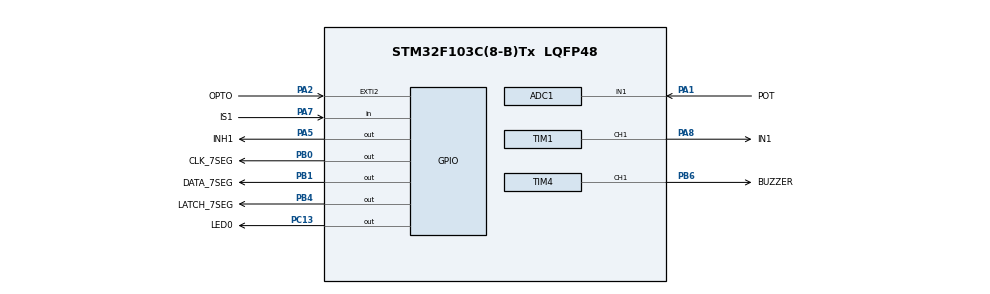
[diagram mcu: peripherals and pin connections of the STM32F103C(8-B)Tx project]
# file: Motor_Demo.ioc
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ADC1.Channel-59\#ChannelRegularConversion=ADC_CHANNEL_1
ADC1.NbrOfConversionFlag=1
ADC1.Rank-59\#ChannelRegularConversion=1
ADC1.SamplingTime-59\#ChannelRegularConversion=ADC_SAMPLETIME_1CYCLE_5
ADC1.master=1
Mcu.Family=STM32F1
Mcu.Name=STM32F103C(8-B)Tx
Mcu.Package=LQFP48
Mcu.UserConstants=SLOW_ALARM,62500;MED_ALARM,31250;FAST_ALARM,15625;LOW_PITCH,1000;MED_PITCH,500;HIGH_PITCH,333
NVIC.EXTI2_IRQn=true\:1\:0\:true\:false\:true\:true
NVIC.PriorityGroup=NVIC_PRIORITYGROUP_4
PA1.GPIO_Label=POT
PA1.Signal=ADCx_IN1
PA13.Mode=Serial_Wire
PA13.Signal=SYS_JTMS-SWDIO
PA14.Mode=Serial_Wire
PA14.Signal=SYS_JTCK-SWCLK
PA2.GPIO_Label=OPTO
PA2.Signal=GPXTI2
PA5.GPIO_Label=INH1
PA5.Signal=GPIO_Output
PA7.GPIO_Label=IS1
PA7.Signal=GPIO_Input
PA8.GPIO_Label=IN1
PA8.Signal=S_TIM1_CH1
PB0.GPIO_Label=CLK_7SEG
PB0.Signal=GPIO_Output
PB1.GPIO_Label=DATA_7SEG
PB1.Signal=GPIO_Output
PB4.GPIO_Label=LATCH_7SEG
PB4.Signal=GPIO_Output
PB6.GPIO_Label=BUZZER
PB6.Signal=S_TIM4_CH1
PC13-TAMPER-RTC.GPIO_Label=LED0
PC13-TAMPER-RTC.Signal=GPIO_Output
PC14-OSC32_IN.Mode=LSE-External-Oscillator
PC14-OSC32_IN.Signal=RCC_OSC32_IN
PC15-OSC32_OUT.Mode=LSE-External-Oscillator
PC15-OSC32_OUT.Signal=RCC_OSC32_OUT
PD0-OSC_IN.Mode=HSE-External-Oscillator
PD0-OSC_IN.Signal=RCC_OSC_IN
PD1-OSC_OUT.Mode=HSE-External-Oscillator
PD1-OSC_OUT.Signal=RCC_OSC_OUT
ProjectManager.HeapSize=0x200
ProjectManager.StackSize=0x400
ProjectManager.TargetToolchain=SW4STM32
RCC.ADCPresc=RCC_ADCPCLK2_DIV8
RCC.AHBCLKDivider=RCC_SYSCLK_DIV4
RCC.AHBFreq_Value=8000000
RCC.APB1CLKDivider=RCC_HCLK_DIV16
RCC.APB1Freq_Value=500000
RCC.APB1TimFreq_Value=1000000
RCC.APB2Freq_Value=8000000
RCC.APB2TimFreq_Value=8000000
RCC.HCLKFreq_Value=8000000
RCC.LSE_VALUE=0.00000000000000000000000000000000000000000000000000000000000003276799999999999
RCC.PLLMUL=RCC_PLL_MUL8
RCC.SYSCLKFreq_VALUE=32000000
RCC.SYSCLKSource=RCC_SYSCLKSOURCE_PLLCLK
RCC.TimSys_Div=SYSTICK_CLKSOURCE_HCLK_DIV8
RCC.USBFreq_Value=32000000
SH.ADCx_IN1.0=ADC1_IN1,IN1
SH.S_TIM1_CH1.0=TIM1_CH1,PWM Generation1 CH1
SH.S_TIM4_CH1.0=TIM4_CH1,PWM Generation1 CH1
TIM1.Channel-PWM\ Generation1\ CH1=TIM_CHANNEL_1
TIM1.Period=800
TIM1.Pulse-PWM\ Generation1\ CH1=400
TIM3.Channel-Output\ Compare1\ No\ Output=TIM_CHANNEL_1
TIM3.ClockDivision=TIM_CLOCKDIVISION_DIV4
TIM3.OCMode_1=TIM_OCMODE_TOGGLE
TIM3.Period=62500
TIM3.Prescaler=4
TIM3.Pulse-Output\ Compare1\ No\ Output=31250
TIM4.Channel-PWM\ Generation1\ CH1=TIM_CHANNEL_1
TIM4.Period=1000
TIM4.Pulse-PWM\ Generation1\ CH1=500
VP_TIM1_VS_ClockSourceINT.Mode=Internal
VP_TIM3_VS_ClockSourceINT.Mode=Internal
VP_TIM3_VS_no_output1.Mode=Output Compare1 No Output
VP_TIM4_VS_ClockSourceINT.Mode=Internal
VP_TIM4_VS_ClockSourceITR.Mode=TriggerSource_ITR2
VP_TIM4_VS_ControllerModeGated.Mode=Gated Mode
board=Motor_Demo

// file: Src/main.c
/**
  ******************************************************************************
  * @file           : main.c
  * @brief          : Main program body
  ******************************************************************************
  ** This notice applies to any and all portions of this file
  * that are not between comment pairs USER CODE BEGIN and
  * USER CODE END. Other portions of this file, whether
  * inserted by the user or by software development tools
  * are owned by their respective copyright owners.
  *
  * COPYRIGHT(c) 2018 STMicroelectronics
  *
  * Redistribution and use in source and binary forms, with or without modification,
  * are permitted provided that the following conditions are met:
  *   1. Redistributions of source code must retain the above copyright notice,
  *      this list of conditions and the following disclaimer.
  *   2. Redistributions in binary form must reproduce the above copyright notice,
  *      this list of conditions and the following disclaimer in the documentation
  *      and/or other materials provided with the distribution.
  *   3. Neither the name of STMicroelectronics nor the names of its contributors
  *      may be used to endorse or promote products derived from this software
  *      without specific prior written permission.
  *
  * THIS SOFTWARE IS PROVIDED BY THE COPYRIGHT HOLDERS AND CONTRIBUTORS "AS IS"
  * AND ANY EXPRESS OR IMPLIED WARRANTIES, INCLUDING, BUT NOT LIMITED TO, THE
  * IMPLIED WARRANTIES OF MERCHANTABILITY AND FITNESS FOR A PARTICULAR PURPOSE ARE
  * DISCLAIMED. IN NO EVENT SHALL THE COPYRIGHT HOLDER OR CONTRIBUTORS BE LIABLE
  * FOR ANY DIRECT, INDIRECT, INCIDENTAL, SPECIAL, EXEMPLARY, OR CONSEQUENTIAL
  * DAMAGES (INCLUDING, BUT NOT LIMITED TO, PROCUREMENT OF SUBSTITUTE GOODS OR
  * SERVICES; LOSS OF USE, DATA, OR PROFITS; OR BUSINESS INTERRUPTION) HOWEVER
  * CAUSED AND ON ANY THEORY OF LIABILITY, WHETHER IN CONTRACT, STRICT LIABILITY,
  * OR TORT (INCLUDING NEGLIGENCE OR OTHERWISE) ARISING IN ANY WAY OUT OF THE USE
  * OF THIS SOFTWARE, EVEN IF ADVISED OF THE POSSIBILITY OF SUCH DAMAGE.
  *
  ******************************************************************************
  */
#include "main.h"

/* USER CODE BEGIN PV */

/* Private variables ---------------------------------------------------------*/
volatile uint8_t spd_calc_flag = 0, refresh_flag = 0;

/* USER CODE END PV */

static void LL_Init(void);
void SystemClock_Config(void);
static void MX_GPIO_Init(void);
static void MX_DMA_Init(void);
static void MX_TIM1_Init(void);
static void MX_TIM3_Init(void);
static void MX_TIM4_Init(void);
static void MX_ADC1_Init(void);

/* USER CODE BEGIN PFP */
/* Private function prototypes -----------------------------------------------*/

/* USER CODE END PFP */

int main(void)
{
  /* USER CODE BEGIN 1 */

  extern uint16_t pot_val;
  uint8_t i;
  LL_EXTI_InitTypeDef exti_init_struct;

  /* USER CODE END 1 */

  /* MCU Configuration----------------------------------------------------------*/

  /* Reset of all peripherals, Initializes the Flash interface and the Systick. */
  LL_Init();

  /* Configure the system clock */
  SystemClock_Config();

  /* Initialize all configured peripherals */
  MX_GPIO_Init();
  MX_DMA_Init();
  MX_TIM1_Init();
  MX_TIM3_Init();
  MX_TIM4_Init();
  MX_ADC1_Init();
  /* USER CODE BEGIN 2 */

  //ADC additional configuration
  LL_ADC_Enable(ADC1);
  //Delay before starting the calibration
  //Core frequency is 8 times ADC frequency and each iteration of this loop takes at least 2 cycles => 8/2=4
  for (i = 0; i < 4 * LL_ADC_DELAY_DISABLE_CALIB_ADC_CYCLES; i++);
  //Calibrate the ADC
  LL_ADC_StartCalibration(ADC1);
  while (LL_ADC_IsCalibrationOnGoing(ADC1));
  //Start automatic ADC conversion
  LL_ADC_REG_StartConversionSWStart(ADC1);

  //Additional DMA configuration
  NVIC_DisableIRQ(DMA1_Channel1_IRQn);
  LL_DMA_SetDataLength(DMA1, LL_DMA_CHANNEL_1, 1);
  LL_DMA_SetPeriphAddress(DMA1, LL_DMA_CHANNEL_1, LL_ADC_DMA_GetRegAddr(ADC1, LL_ADC_DMA_REG_REGULAR_DATA));
  LL_DMA_SetMemoryAddress(DMA1, LL_DMA_CHANNEL_1, (uint32_t) &pot_val);
  LL_DMA_EnableChannel(DMA1, LL_DMA_CHANNEL_1);

  //External interrupt configuration
  NVIC_SetPriority(EXTI2_IRQn, NVIC_EncodePriority(NVIC_GetPriorityGrouping(), 1, 0));
  NVIC_EnableIRQ(EXTI2_IRQn);
  LL_EXTI_StructInit(&exti_init_struct);
  exti_init_struct.LineCommand = ENABLE;
  exti_init_struct.Line_0_31 = LL_EXTI_LINE_2;
  exti_init_struct.Mode = LL_EXTI_MODE_IT;
  exti_init_struct.Trigger = LL_EXTI_TRIGGER_RISING;
  LL_EXTI_Init(&exti_init_struct);

  //System timer (SysTick) additional configuration
  LL_SYSTICK_EnableIT();

  //Additional TIM configuration
  LL_TIM_SetTriggerOutput(TIM3, LL_TIM_TRGO_OC1REF);
  LL_TIM_EnableCounter(TIM1);
  LL_TIM_EnableCounter(TIM3);
  LL_TIM_EnableCounter(TIM4);
  LL_TIM_EnableAllOutputs(TIM1);
  LL_TIM_CC_EnableChannel(TIM1, LL_TIM_CHANNEL_CH1);
  LL_TIM_CC_EnableChannel(TIM4, LL_TIM_CHANNEL_CH1);
  LL_TIM_GenerateEvent_UPDATE(TIM1);

  /* USER CODE END 2 */

  /* Infinite loop */
  /* USER CODE BEGIN WHILE */

  while (1)
  {
	  if (spd_calc_flag)
	  {
		  calculate_speed();
		  spd_calc_flag = 0;
	  }
	  if (pot_val)
	  {
		  calculate_power();
		  pot_val = 0;
	  }
	  if (refresh_flag)
	  {
		  refresh_7segm();
		  refresh_flag = 0;
	  }
  }

  /* USER CODE END WHILE */

}

static void LL_Init(void)
{

  LL_APB2_GRP1_EnableClock(LL_APB2_GRP1_PERIPH_AFIO);

  NVIC_SetPriorityGrouping(NVIC_PRIORITYGROUP_4);

  /* System interrupt init*/
  /* MemoryManagement_IRQn interrupt configuration */
  NVIC_SetPriority(MemoryManagement_IRQn, NVIC_EncodePriority(NVIC_GetPriorityGrouping(),0, 0));
  /* BusFault_IRQn interrupt configuration */
  NVIC_SetPriority(BusFault_IRQn, NVIC_EncodePriority(NVIC_GetPriorityGrouping(),0, 0));
  /* UsageFault_IRQn interrupt configuration */
  NVIC_SetPriority(UsageFault_IRQn, NVIC_EncodePriority(NVIC_GetPriorityGrouping(),0, 0));
  /* SVCall_IRQn interrupt configuration */
  NVIC_SetPriority(SVCall_IRQn, NVIC_EncodePriority(NVIC_GetPriorityGrouping(),0, 0));
  /* DebugMonitor_IRQn interrupt configuration */
  NVIC_SetPriority(DebugMonitor_IRQn, NVIC_EncodePriority(NVIC_GetPriorityGrouping(),0, 0));
  /* PendSV_IRQn interrupt configuration */
  NVIC_SetPriority(PendSV_IRQn, NVIC_EncodePriority(NVIC_GetPriorityGrouping(),0, 0));
  /* SysTick_IRQn interrupt configuration */
  NVIC_SetPriority(SysTick_IRQn, NVIC_EncodePriority(NVIC_GetPriorityGrouping(),0, 0));

    /**NOJTAG: JTAG-DP Disabled and SW-DP Enabled
    */
  LL_GPIO_AF_Remap_SWJ_NOJTAG();

}

void SystemClock_Config(void)
{

  LL_FLASH_SetLatency(LL_FLASH_LATENCY_1);

  if(LL_FLASH_GetLatency() != LL_FLASH_LATENCY_1)
  {
    Error_Handler();
  }
  LL_RCC_HSI_SetCalibTrimming(16);

  LL_RCC_HSI_Enable();

   /* Wait till HSI is ready */
  while(LL_RCC_HSI_IsReady() != 1)
  {

  }
  LL_RCC_PLL_ConfigDomain_SYS(LL_RCC_PLLSOURCE_HSI_DIV_2, LL_RCC_PLL_MUL_8);

  LL_RCC_PLL_Enable();

   /* Wait till PLL is ready */
  while(LL_RCC_PLL_IsReady() != 1)
  {

  }
  LL_RCC_SetAHBPrescaler(LL_RCC_SYSCLK_DIV_4);

  LL_RCC_SetAPB1Prescaler(LL_RCC_APB1_DIV_16);

  LL_RCC_SetAPB2Prescaler(LL_RCC_APB2_DIV_1);

  LL_RCC_SetSysClkSource(LL_RCC_SYS_CLKSOURCE_PLL);

   /* Wait till System clock is ready */
  while(LL_RCC_GetSysClkSource() != LL_RCC_SYS_CLKSOURCE_STATUS_PLL)
  {

  }
  LL_Init1msTick(1000000);

  LL_SYSTICK_SetClkSource(LL_SYSTICK_CLKSOURCE_HCLK_DIV8);

  LL_SetSystemCoreClock(8000000);

  LL_RCC_SetADCClockSource(LL_RCC_ADC_CLKSRC_PCLK2_DIV_8);

  /* SysTick_IRQn interrupt configuration */
  NVIC_SetPriority(SysTick_IRQn, NVIC_EncodePriority(NVIC_GetPriorityGrouping(),0, 0));
}

/* ADC1 init function */
static void MX_ADC1_Init(void)
{

  LL_ADC_InitTypeDef ADC_InitStruct;
  LL_ADC_CommonInitTypeDef ADC_CommonInitStruct;
  LL_ADC_REG_InitTypeDef ADC_REG_InitStruct;

  LL_GPIO_InitTypeDef GPIO_InitStruct;

  /* Peripheral clock enable */
  LL_APB2_GRP1_EnableClock(LL_APB2_GRP1_PERIPH_ADC1);

  /**ADC1 GPIO Configuration
  PA1   ------> ADC1_IN1
  */
  GPIO_InitStruct.Pin = POT_Pin;
  GPIO_InitStruct.Mode = LL_GPIO_MODE_ANALOG;
  LL_GPIO_Init(POT_GPIO_Port, &GPIO_InitStruct);

  /* ADC1 DMA Init */

  /* ADC1 Init */
  LL_DMA_SetDataTransferDirection(DMA1, LL_DMA_CHANNEL_1, LL_DMA_DIRECTION_PERIPH_TO_MEMORY);

  LL_DMA_SetChannelPriorityLevel(DMA1, LL_DMA_CHANNEL_1, LL_DMA_PRIORITY_MEDIUM);

  LL_DMA_SetMode(DMA1, LL_DMA_CHANNEL_1, LL_DMA_MODE_CIRCULAR);

  LL_DMA_SetPeriphIncMode(DMA1, LL_DMA_CHANNEL_1, LL_DMA_PERIPH_NOINCREMENT);

  LL_DMA_SetMemoryIncMode(DMA1, LL_DMA_CHANNEL_1, LL_DMA_MEMORY_NOINCREMENT);

  LL_DMA_SetPeriphSize(DMA1, LL_DMA_CHANNEL_1, LL_DMA_PDATAALIGN_HALFWORD);

  LL_DMA_SetMemorySize(DMA1, LL_DMA_CHANNEL_1, LL_DMA_MDATAALIGN_HALFWORD);

    /**Common config
    */
  ADC_InitStruct.DataAlignment = LL_ADC_DATA_ALIGN_RIGHT;
  ADC_InitStruct.SequencersScanMode = LL_ADC_SEQ_SCAN_DISABLE;
  LL_ADC_Init(ADC1, &ADC_InitStruct);

  ADC_CommonInitStruct.Multimode = LL_ADC_MULTI_INDEPENDENT;
  LL_ADC_CommonInit(__LL_ADC_COMMON_INSTANCE(ADC1), &ADC_CommonInitStruct);

  ADC_REG_InitStruct.TriggerSource = LL_ADC_REG_TRIG_SOFTWARE;
  ADC_REG_InitStruct.SequencerLength = 1;
  ADC_REG_InitStruct.SequencerDiscont = LL_ADC_REG_SEQ_DISCONT_DISABLE;
  ADC_REG_InitStruct.ContinuousMode = LL_ADC_REG_CONV_CONTINUOUS;
  ADC_REG_InitStruct.DMATransfer = LL_ADC_REG_DMA_TRANSFER_UNLIMITED;
  LL_ADC_REG_Init(ADC1, &ADC_REG_InitStruct);

    /**Configure Regular Channel
    */
  LL_ADC_REG_SetSequencerRanks(ADC1, LL_ADC_REG_RANK_1, LL_ADC_CHANNEL_1);

  LL_ADC_SetChannelSamplingTime(ADC1, LL_ADC_CHANNEL_1, LL_ADC_SAMPLINGTIME_55CYCLES_5);

}

/* TIM1 init function */
static void MX_TIM1_Init(void)
{

  LL_TIM_InitTypeDef TIM_InitStruct;
  LL_TIM_OC_InitTypeDef TIM_OC_InitStruct;
  LL_TIM_BDTR_InitTypeDef TIM_BDTRInitStruct;

  LL_GPIO_InitTypeDef GPIO_InitStruct;

  /* Peripheral clock enable */
  LL_APB2_GRP1_EnableClock(LL_APB2_GRP1_PERIPH_TIM1);

  TIM_InitStruct.Prescaler = 0;
  TIM_InitStruct.CounterMode = LL_TIM_COUNTERMODE_UP;
  TIM_InitStruct.Autoreload = 800;
  TIM_InitStruct.ClockDivision = LL_TIM_CLOCKDIVISION_DIV1;
  TIM_InitStruct.RepetitionCounter = 0;
  LL_TIM_Init(TIM1, &TIM_InitStruct);

  LL_TIM_DisableARRPreload(TIM1);

  LL_TIM_SetClockSource(TIM1, LL_TIM_CLOCKSOURCE_INTERNAL);

  LL_TIM_OC_EnablePreload(TIM1, LL_TIM_CHANNEL_CH1);

  TIM_OC_InitStruct.OCMode = LL_TIM_OCMODE_PWM1;
  TIM_OC_InitStruct.OCState = LL_TIM_OCSTATE_DISABLE;
  TIM_OC_InitStruct.OCNState = LL_TIM_OCSTATE_DISABLE;
  TIM_OC_InitStruct.CompareValue = 400;
  TIM_OC_InitStruct.OCPolarity = LL_TIM_OCPOLARITY_HIGH;
  TIM_OC_InitStruct.OCNPolarity = LL_TIM_OCPOLARITY_HIGH;
  TIM_OC_InitStruct.OCIdleState = LL_TIM_OCIDLESTATE_LOW;
  TIM_OC_InitStruct.OCNIdleState = LL_TIM_OCIDLESTATE_LOW;
  LL_TIM_OC_Init(TIM1, LL_TIM_CHANNEL_CH1, &TIM_OC_InitStruct);

  LL_TIM_OC_DisableFast(TIM1, LL_TIM_CHANNEL_CH1);

  LL_TIM_SetTriggerOutput(TIM1, LL_TIM_TRGO_RESET);

  LL_TIM_DisableMasterSlaveMode(TIM1);

  TIM_BDTRInitStruct.OSSRState = LL_TIM_OSSR_DISABLE;
  TIM_BDTRInitStruct.OSSIState = LL_TIM_OSSI_DISABLE;
  TIM_BDTRInitStruct.LockLevel = LL_TIM_LOCKLEVEL_OFF;
  TIM_BDTRInitStruct.DeadTime = 0;
  TIM_BDTRInitStruct.BreakState = LL_TIM_BREAK_DISABLE;
  TIM_BDTRInitStruct.BreakPolarity = LL_TIM_BREAK_POLARITY_HIGH;
  TIM_BDTRInitStruct.AutomaticOutput = LL_TIM_AUTOMATICOUTPUT_DISABLE;
  LL_TIM_BDTR_Init(TIM1, &TIM_BDTRInitStruct);

  /**TIM1 GPIO Configuration
  PA8   ------> TIM1_CH1
  */
  GPIO_InitStruct.Pin = IN1_Pin;
  GPIO_InitStruct.Mode = LL_GPIO_MODE_ALTERNATE;
  GPIO_InitStruct.Speed = LL_GPIO_SPEED_FREQ_LOW;
  GPIO_InitStruct.OutputType = LL_GPIO_OUTPUT_PUSHPULL;
  LL_GPIO_Init(IN1_GPIO_Port, &GPIO_InitStruct);

}

/* TIM3 init function */
static void MX_TIM3_Init(void)
{

  LL_TIM_InitTypeDef TIM_InitStruct;
  LL_TIM_OC_InitTypeDef TIM_OC_InitStruct;

  /* Peripheral clock enable */
  LL_APB1_GRP1_EnableClock(LL_APB1_GRP1_PERIPH_TIM3);

  TIM_InitStruct.Prescaler = 4;
  TIM_InitStruct.CounterMode = LL_TIM_COUNTERMODE_UP;
  TIM_InitStruct.Autoreload = 62500;
  TIM_InitStruct.ClockDivision = LL_TIM_CLOCKDIVISION_DIV4;
  LL_TIM_Init(TIM3, &TIM_InitStruct);

  LL_TIM_DisableARRPreload(TIM3);

  LL_TIM_SetClockSource(TIM3, LL_TIM_CLOCKSOURCE_INTERNAL);

  TIM_OC_InitStruct.OCMode = LL_TIM_OCMODE_TOGGLE;
  TIM_OC_InitStruct.OCState = LL_TIM_OCSTATE_DISABLE;
  TIM_OC_InitStruct.OCNState = LL_TIM_OCSTATE_DISABLE;
  TIM_OC_InitStruct.CompareValue = 31250;
  TIM_OC_InitStruct.OCPolarity = LL_TIM_OCPOLARITY_HIGH;
  LL_TIM_OC_Init(TIM3, LL_TIM_CHANNEL_CH1, &TIM_OC_InitStruct);

  LL_TIM_OC_DisableFast(TIM3, LL_TIM_CHANNEL_CH1);

  LL_TIM_SetTriggerOutput(TIM3, LL_TIM_TRGO_RESET);

  LL_TIM_DisableMasterSlaveMode(TIM3);

}

/* TIM4 init function */
static void MX_TIM4_Init(void)
{

  LL_TIM_InitTypeDef TIM_InitStruct;
  LL_TIM_OC_InitTypeDef TIM_OC_InitStruct;

  LL_GPIO_InitTypeDef GPIO_InitStruct;

  /* Peripheral clock enable */
  LL_APB1_GRP1_EnableClock(LL_APB1_GRP1_PERIPH_TIM4);

  TIM_InitStruct.Prescaler = 0;
  TIM_InitStruct.CounterMode = LL_TIM_COUNTERMODE_UP;
  TIM_InitStruct.Autoreload = 1000;
  TIM_InitStruct.ClockDivision = LL_TIM_CLOCKDIVISION_DIV1;
  LL_TIM_Init(TIM4, &TIM_InitStruct);

  LL_TIM_DisableARRPreload(TIM4);

  LL_TIM_SetClockSource(TIM4, LL_TIM_CLOCKSOURCE_INTERNAL);

  LL_TIM_OC_EnablePreload(TIM4, LL_TIM_CHANNEL_CH1);

  TIM_OC_InitStruct.OCMode = LL_TIM_OCMODE_PWM1;
  TIM_OC_InitStruct.OCState = LL_TIM_OCSTATE_DISABLE;
  TIM_OC_InitStruct.OCNState = LL_TIM_OCSTATE_DISABLE;
  TIM_OC_InitStruct.CompareValue = 500;
  TIM_OC_InitStruct.OCPolarity = LL_TIM_OCPOLARITY_HIGH;
  LL_TIM_OC_Init(TIM4, LL_TIM_CHANNEL_CH1, &TIM_OC_InitStruct);

  LL_TIM_OC_DisableFast(TIM4, LL_TIM_CHANNEL_CH1);

  LL_TIM_SetTriggerInput(TIM4, LL_TIM_TS_ITR2);

  LL_TIM_SetSlaveMode(TIM4, LL_TIM_SLAVEMODE_GATED);

  LL_TIM_DisableIT_TRIG(TIM4);

  LL_TIM_DisableDMAReq_TRIG(TIM4);

  LL_TIM_SetTriggerOutput(TIM4, LL_TIM_TRGO_RESET);

  LL_TIM_DisableMasterSlaveMode(TIM4);

  /**TIM4 GPIO Configuration
  PB6   ------> TIM4_CH1
  */
  GPIO_InitStruct.Pin = BUZZER_Pin;
  GPIO_InitStruct.Mode = LL_GPIO_MODE_ALTERNATE;
  GPIO_InitStruct.Speed = LL_GPIO_SPEED_FREQ_LOW;
  GPIO_InitStruct.OutputType = LL_GPIO_OUTPUT_PUSHPULL;
  LL_GPIO_Init(BUZZER_GPIO_Port, &GPIO_InitStruct);

}

static void MX_DMA_Init(void)
{
  /* Init with LL driver */
  /* DMA controller clock enable */
  LL_AHB1_GRP1_EnableClock(LL_AHB1_GRP1_PERIPH_DMA1);

  /* DMA interrupt init */
  /* DMA1_Channel1_IRQn interrupt configuration */
  NVIC_SetPriority(DMA1_Channel1_IRQn, NVIC_EncodePriority(NVIC_GetPriorityGrouping(),0, 0));
  NVIC_EnableIRQ(DMA1_Channel1_IRQn);

}

/** Configure pins as
        * Analog
        * Input
        * Output
        * EVENT_OUT
        * EXTI
*/
static void MX_GPIO_Init(void)
{

  LL_GPIO_InitTypeDef GPIO_InitStruct;

  /* GPIO Ports Clock Enable */
  LL_APB2_GRP1_EnableClock(LL_APB2_GRP1_PERIPH_GPIOC);
  LL_APB2_GRP1_EnableClock(LL_APB2_GRP1_PERIPH_GPIOA);
  LL_APB2_GRP1_EnableClock(LL_APB2_GRP1_PERIPH_GPIOB);

  /**/
  LL_GPIO_ResetOutputPin(GPIOC, LED0_Pin|LED1_Pin|LED2_Pin);

  /**/
  LL_GPIO_ResetOutputPin(GPIOA, LED3_Pin|LED4_Pin|INH1_Pin);

  /**/
  LL_GPIO_ResetOutputPin(GPIOB, CLK_7SEG_Pin|DATA_7SEG_Pin|LATCH_7SEG_Pin);

  /**/
  GPIO_InitStruct.Pin = LED0_Pin|LED1_Pin|LED2_Pin;
  GPIO_InitStruct.Mode = LL_GPIO_MODE_OUTPUT;
  GPIO_InitStruct.Speed = LL_GPIO_SPEED_FREQ_LOW;
  GPIO_InitStruct.OutputType = LL_GPIO_OUTPUT_PUSHPULL;
  LL_GPIO_Init(GPIOC, &GPIO_InitStruct);

  /**/
  GPIO_InitStruct.Pin = OPTO_Pin|IS1_Pin;
  GPIO_InitStruct.Mode = LL_GPIO_MODE_FLOATING;
  LL_GPIO_Init(GPIOA, &GPIO_InitStruct);

  /**/
  GPIO_InitStruct.Pin = LED3_Pin|LED4_Pin|INH1_Pin;
  GPIO_InitStruct.Mode = LL_GPIO_MODE_OUTPUT;
  GPIO_InitStruct.Speed = LL_GPIO_SPEED_FREQ_LOW;
  GPIO_InitStruct.OutputType = LL_GPIO_OUTPUT_PUSHPULL;
  LL_GPIO_Init(GPIOA, &GPIO_InitStruct);

  /**/
  GPIO_InitStruct.Pin = CLK_7SEG_Pin|DATA_7SEG_Pin|LATCH_7SEG_Pin;
  GPIO_InitStruct.Mode = LL_GPIO_MODE_OUTPUT;
  GPIO_InitStruct.Speed = LL_GPIO_SPEED_FREQ_LOW;
  GPIO_InitStruct.OutputType = LL_GPIO_OUTPUT_PUSHPULL;
  LL_GPIO_Init(GPIOB, &GPIO_InitStruct);

}

void _Error_Handler(char *file, int line)
{
  while(1)
  {
  }
}

/************************ (C) COPYRIGHT STMicroelectronics *****END OF FILE****/
